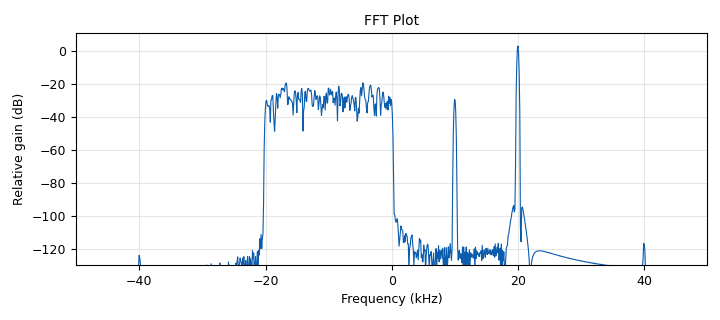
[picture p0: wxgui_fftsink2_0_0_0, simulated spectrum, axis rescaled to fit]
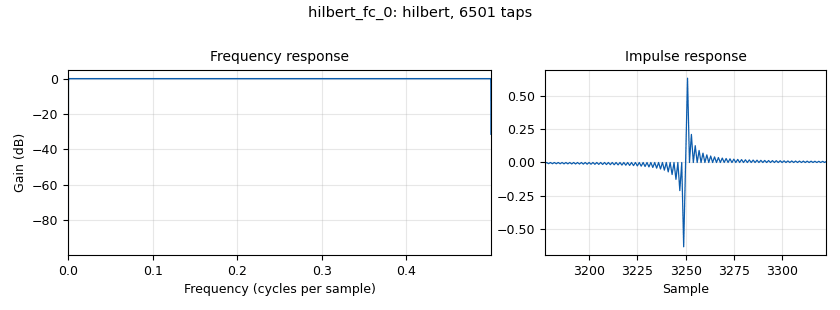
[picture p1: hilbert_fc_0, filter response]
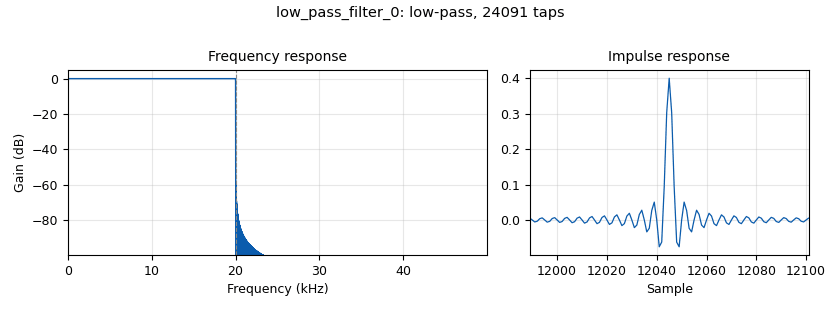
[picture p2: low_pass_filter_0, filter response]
<?xml version='1.0' encoding='utf-8'?>
<?grc format='1' created='3.7.9'?>
<flow_graph>
<block>
<key>options</key>
<param><key>id</key><value>top_block</value></param>
<param><key>category</key><value>Custom</value></param>
<param><key>generate_options</key><value>wx_gui</value></param>
</block>
<block>
<key>variable</key>
<param><key>id</key><value>samp_rate</value></param>
<param><key>value</key><value>100e3</value></param>
</block>
<block>
<key>analog_noise_source_x</key>
<param><key>id</key><value>analog_noise_source_x_0</value></param>
<param><key>amp</key><value>1</value></param>
<param><key>noise_type</key><value>analog.GR_GAUSSIAN</value></param>
<param><key>type</key><value>complex</value></param>
<param><key>seed</key><value>0</value></param>
</block>
<block>
<key>analog_sig_source_x</key>
<param><key>id</key><value>analog_sig_source_x_0</value></param>
<param><key>amp</key><value>0.05</value></param>
<param><key>freq</key><value>10000</value></param>
<param><key>offset</key><value>0</value></param>
<param><key>type</key><value>complex</value></param>
<param><key>samp_rate</key><value>samp_rate</value></param>
<param><key>waveform</key><value>analog.GR_COS_WAVE</value></param>
</block>
<block>
<key>analog_sig_source_x</key>
<param><key>id</key><value>analog_sig_source_x_1</value></param>
<param><key>amp</key><value>2</value></param>
<param><key>freq</key><value>20000</value></param>
<param><key>offset</key><value>0</value></param>
<param><key>type</key><value>complex</value></param>
<param><key>samp_rate</key><value>samp_rate</value></param>
<param><key>waveform</key><value>analog.GR_COS_WAVE</value></param>
</block>
<block>
<key>blocks_add_xx</key>
<param><key>id</key><value>blocks_add_xx_0</value></param>
<param><key>type</key><value>complex</value></param>
</block>
<block>
<key>blocks_add_xx</key>
<param><key>id</key><value>blocks_add_xx_1</value></param>
<param><key>type</key><value>complex</value></param>
</block>
<block>
<key>blocks_complex_to_float</key>
<param><key>id</key><value>blocks_complex_to_float_0</value></param>
</block>
<block>
<key>blocks_conjugate_cc</key>
<param><key>id</key><value>blocks_conjugate_cc_0</value></param>
</block>
<block>
<key>blocks_throttle</key>
<param><key>id</key><value>blocks_throttle_0_0_0</value></param>
<param><key>samples_per_second</key><value>samp_rate</value></param>
<param><key>type</key><value>complex</value></param>
</block>
<block>
<key>hilbert_fc</key>
<param><key>id</key><value>hilbert_fc_0</value></param>
<param><key>num_taps</key><value>6500</value></param>
<param><key>win</key><value>firdes.WIN_HAMMING</value></param>
</block>
<block>
<key>low_pass_filter</key>
<param><key>id</key><value>low_pass_filter_0</value></param>
<param><key>cutoff_freq</key><value>20e3</value></param>
<param><key>decim</key><value>1</value></param>
<param><key>type</key><value>fir_filter_ccf</value></param>
<param><key>gain</key><value>1</value></param>
<param><key>samp_rate</key><value>samp_rate</value></param>
<param><key>width</key><value>10</value></param>
<param><key>win</key><value>firdes.WIN_HAMMING</value></param>
</block>
<block>
<key>notebook</key>
<param><key>id</key><value>notebook_0</value></param>
<param><key>labels</key><value>['tab1', 'tab2', 'tab3']</value></param>
<param><key>style</key><value>wx.NB_TOP</value></param>
</block>
<block>
<key>wxgui_fftsink2</key>
<param><key>id</key><value>wxgui_fftsink2_0_0_0</value></param>
<param><key>avg_alpha</key><value>0</value></param>
<param><key>average</key><value>False</value></param>
<param><key>baseband_freq</key><value>0</value></param>
<param><key>fft_size</key><value>1024</value></param>
<param><key>freqvar</key><value>None</value></param>
<param><key>notebook</key><value>notebook_0,0</value></param>
<param><key>peak_hold</key><value>False</value></param>
<param><key>ref_level</key><value>0</value></param>
<param><key>ref_scale</key><value>2.0</value></param>
<param><key>fft_rate</key><value>15</value></param>
<param><key>samp_rate</key><value>samp_rate</value></param>
<param><key>title</key><value>FFT Plot</value></param>
<param><key>type</key><value>complex</value></param>
<param><key>win</key><value>None</value></param>
<param><key>y_divs</key><value>10</value></param>
<param><key>y_per_div</key><value>10</value></param>
</block>
<connection><source_block_id>analog_noise_source_x_0</source_block_id><sink_block_id>low_pass_filter_0</sink_block_id><source_key>0</source_key><sink_key>0</sink_key></connection>
<connection><source_block_id>analog_sig_source_x_0</source_block_id><sink_block_id>blocks_add_xx_0</sink_block_id><source_key>0</source_key><sink_key>0</sink_key></connection>
<connection><source_block_id>analog_sig_source_x_1</source_block_id><sink_block_id>blocks_add_xx_0</sink_block_id><source_key>0</source_key><sink_key>1</sink_key></connection>
<connection><source_block_id>blocks_add_xx_0</source_block_id><sink_block_id>blocks_add_xx_1</sink_block_id><source_key>0</source_key><sink_key>1</sink_key></connection>
<connection><source_block_id>blocks_add_xx_1</source_block_id><sink_block_id>blocks_throttle_0_0_0</sink_block_id><source_key>0</source_key><sink_key>0</sink_key></connection>
<connection><source_block_id>blocks_complex_to_float_0</source_block_id><sink_block_id>hilbert_fc_0</sink_block_id><source_key>0</source_key><sink_key>0</sink_key></connection>
<connection><source_block_id>blocks_conjugate_cc_0</source_block_id><sink_block_id>blocks_add_xx_1</sink_block_id><source_key>0</source_key><sink_key>0</sink_key></connection>
<connection><source_block_id>blocks_throttle_0_0_0</source_block_id><sink_block_id>wxgui_fftsink2_0_0_0</sink_block_id><source_key>0</source_key><sink_key>0</sink_key></connection>
<connection><source_block_id>hilbert_fc_0</source_block_id><sink_block_id>blocks_conjugate_cc_0</sink_block_id><source_key>0</source_key><sink_key>0</sink_key></connection>
<connection><source_block_id>low_pass_filter_0</source_block_id><sink_block_id>blocks_complex_to_float_0</sink_block_id><source_key>0</source_key><sink_key>0</sink_key></connection>
</flow_graph>
